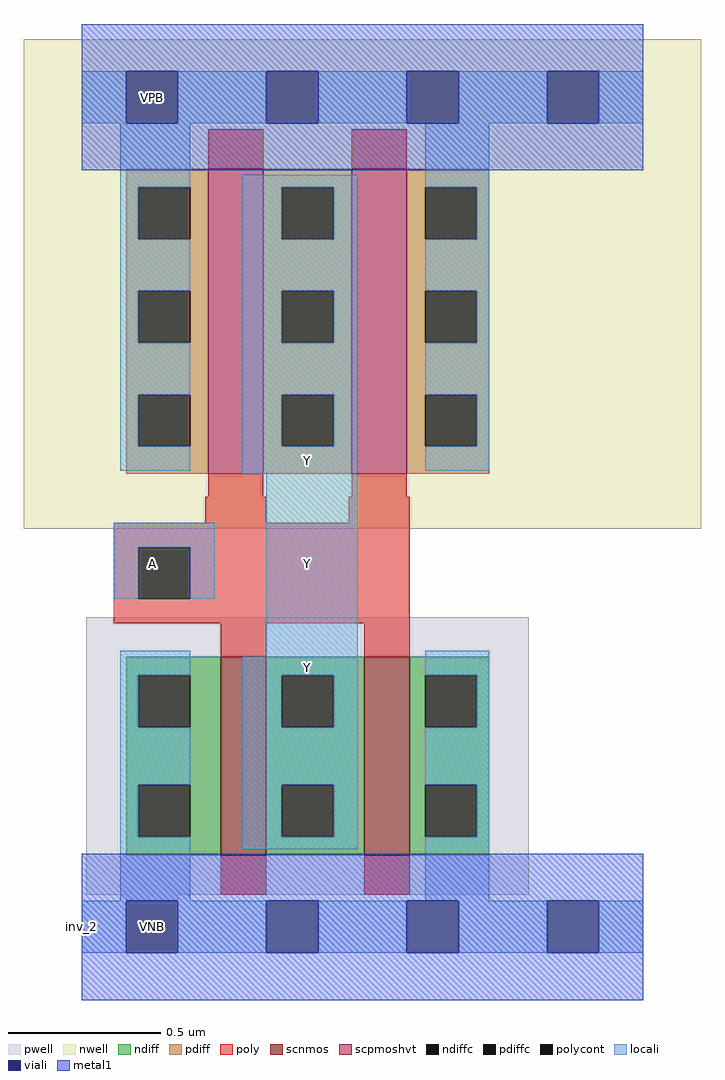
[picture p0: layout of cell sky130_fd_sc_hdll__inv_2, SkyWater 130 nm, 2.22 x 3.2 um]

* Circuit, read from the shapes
.subckt sky130_fd_sc_hdll__inv_2 A VGND VNB VPB VPWR Y
XM1 Y A VGND VNB sky130_fd_pr__nfet_01v8 w=0.65 l=0.15 m=2
XM2 Y A VPWR VPB sky130_fd_pr__pfet_01v8_hvt w=1 l=0.18 m=2
.ends

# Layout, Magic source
magic
tech sky130A
magscale 1 2
<< nwell >>
rect -38 261 406 582
<< pwell >>
rect 3 21 293 203
rect 29 -17 63 21
<< scnmos >>
rect 91 47 121 177
rect 185 47 215 177
<< scpmoshvt >>
rect 83 297 119 497
rect 177 297 213 497
<< ndiff >>
rect 29 165 91 177
rect 29 131 37 165
rect 71 131 91 165
rect 29 93 91 131
rect 29 59 37 93
rect 71 59 91 93
rect 29 47 91 59
rect 121 165 185 177
rect 121 131 131 165
rect 165 131 185 165
rect 121 93 185 131
rect 121 59 131 93
rect 165 59 185 93
rect 121 47 185 59
rect 215 165 267 177
rect 215 131 225 165
rect 259 131 267 165
rect 215 93 267 131
rect 215 59 225 93
rect 259 59 267 93
rect 215 47 267 59
<< pdiff >>
rect 29 485 83 497
rect 29 451 37 485
rect 71 451 83 485
rect 29 417 83 451
rect 29 383 37 417
rect 71 383 83 417
rect 29 349 83 383
rect 29 315 37 349
rect 71 315 83 349
rect 29 297 83 315
rect 119 485 177 497
rect 119 451 131 485
rect 165 451 177 485
rect 119 417 177 451
rect 119 383 131 417
rect 165 383 177 417
rect 119 349 177 383
rect 119 315 131 349
rect 165 315 177 349
rect 119 297 177 315
rect 213 485 267 497
rect 213 451 225 485
rect 259 451 267 485
rect 213 417 267 451
rect 213 383 225 417
rect 259 383 267 417
rect 213 349 267 383
rect 213 315 225 349
rect 259 315 267 349
rect 213 297 267 315
<< ndiffc >>
rect 37 131 71 165
rect 37 59 71 93
rect 131 131 165 165
rect 131 59 165 93
rect 225 131 259 165
rect 225 59 259 93
<< pdiffc >>
rect 37 451 71 485
rect 37 383 71 417
rect 37 315 71 349
rect 131 451 165 485
rect 131 383 165 417
rect 131 315 165 349
rect 225 451 259 485
rect 225 383 259 417
rect 225 315 259 349
<< poly >>
rect 83 497 119 523
rect 177 497 213 523
rect 83 282 119 297
rect 177 282 213 297
rect 81 265 121 282
rect 175 265 215 282
rect 21 249 215 265
rect 21 215 37 249
rect 71 215 215 249
rect 21 199 215 215
rect 91 177 121 199
rect 185 177 215 199
rect 91 21 121 47
rect 185 21 215 47
<< polycont >>
rect 37 215 71 249
<< locali >>
rect 0 527 29 561
rect 63 527 121 561
rect 155 527 213 561
rect 247 527 305 561
rect 339 527 368 561
rect 25 485 71 527
rect 25 451 37 485
rect 25 417 71 451
rect 25 383 37 417
rect 25 349 71 383
rect 25 315 37 349
rect 25 299 71 315
rect 105 485 181 493
rect 105 451 131 485
rect 165 451 181 485
rect 105 417 181 451
rect 105 383 131 417
rect 165 383 181 417
rect 105 349 181 383
rect 105 315 131 349
rect 165 315 181 349
rect 105 297 181 315
rect 225 485 267 527
rect 259 451 267 485
rect 225 417 267 451
rect 259 383 267 417
rect 225 349 267 383
rect 259 315 267 349
rect 225 299 267 315
rect 21 249 87 265
rect 21 215 37 249
rect 71 215 87 249
rect 25 165 71 181
rect 121 177 181 297
rect 25 131 37 165
rect 25 93 71 131
rect 25 59 37 93
rect 25 17 71 59
rect 105 165 181 177
rect 105 131 131 165
rect 165 131 181 165
rect 105 93 181 131
rect 105 59 131 93
rect 165 59 181 93
rect 105 51 181 59
rect 225 165 267 181
rect 259 131 267 165
rect 225 93 267 131
rect 259 59 267 93
rect 225 17 267 59
rect 0 -17 29 17
rect 63 -17 121 17
rect 155 -17 213 17
rect 247 -17 305 17
rect 339 -17 368 17
<< viali >>
rect 29 527 63 561
rect 121 527 155 561
rect 213 527 247 561
rect 305 527 339 561
rect 29 -17 63 17
rect 121 -17 155 17
rect 213 -17 247 17
rect 305 -17 339 17
<< metal1 >>
rect 0 561 368 592
rect 0 527 29 561
rect 63 527 121 561
rect 155 527 213 561
rect 247 527 305 561
rect 339 527 368 561
rect 0 496 368 527
rect 0 17 368 48
rect 0 -17 29 17
rect 63 -17 121 17
rect 155 -17 213 17
rect 247 -17 305 17
rect 339 -17 368 17
rect 0 -48 368 -17
<< labels >>
flabel locali s 29 221 63 255 0 FreeSans 340 0 0 0 A
port 1 nsew signal input
flabel locali s 131 153 165 187 0 FreeSans 340 0 0 0 Y
port 6 nsew signal output
flabel locali s 131 289 165 323 0 FreeSans 340 0 0 0 Y
port 6 nsew signal output
flabel locali s 131 221 165 255 0 FreeSans 340 0 0 0 Y
port 6 nsew signal output
flabel nwell s 29 527 63 561 0 FreeSans 200 0 0 0 VPB
port 4 nsew power bidirectional
flabel pwell s 29 -17 63 17 0 FreeSans 200 0 0 0 VNB
port 3 nsew ground bidirectional
flabel metal1 s 29 527 63 561 0 FreeSans 200 0 0 0 VPWR
port 5 nsew power bidirectional
flabel metal1 s 29 -17 63 17 0 FreeSans 200 0 0 0 VGND
port 2 nsew ground bidirectional
rlabel comment s 0 0 0 0 4 inv_2
<< properties >>
string LEFsite unithd
string LEFclass CORE
string FIXED_BBOX 0 0 368 544
string GDS_FILE $PDKPATH/libs.ref/sky130_fd_sc_hdll/gds/sky130_fd_sc_hdll.gds
string LEFsymmetry X Y R90
string GDS_END 2123886
string GDS_START 2119914
string LEFproperties maskLayoutSubType "abstract" prCellType "standard" originalViewName "layout"
<< end >>
